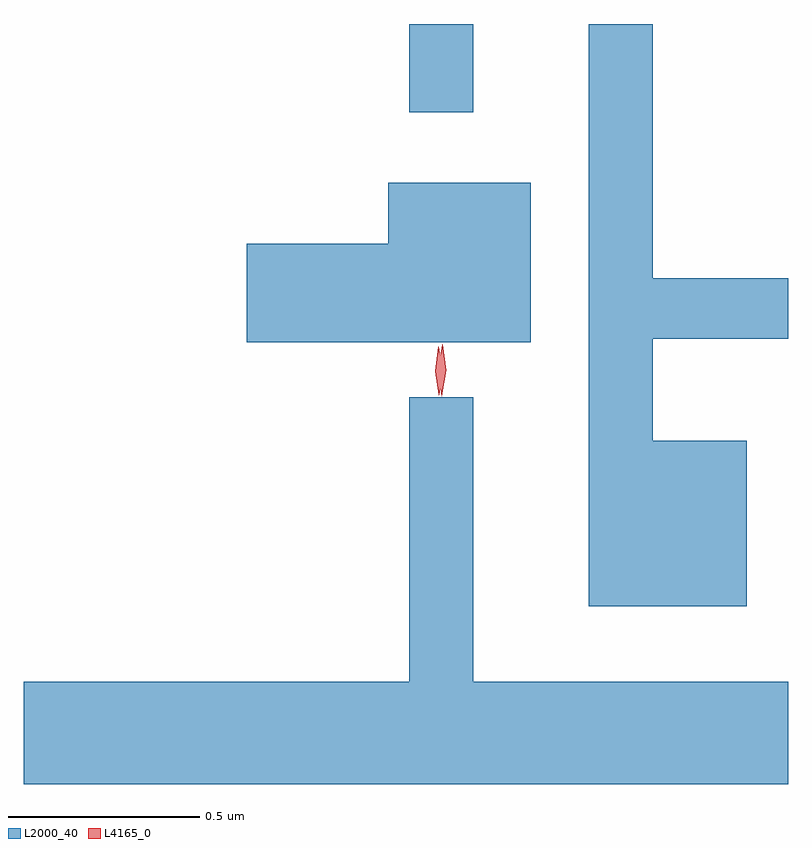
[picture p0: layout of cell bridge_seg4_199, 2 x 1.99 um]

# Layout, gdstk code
import gdstk
lib = gdstk.Library(unit=1e-6, precision=1e-09)
def R(c, l, rs):  # rectangles x0, y0, x1, y1
    for r in rs: c.add(gdstk.rectangle(r[:2], r[2:], *l))
def P(c, l, *ps):  # polygons
    for p in ps: c.add(gdstk.Polygon(p, *l))
L2000_40 = (2000, 40)
L4165_0 = (4165, 0)

bridge_seg4_199 = lib.new_cell('bridge_seg4_199')
R(bridge_seg4_199, L2000_40, [(1103.351,1285.393,1103.519,1285.624)])
P(bridge_seg4_199, L2000_40, [(1104.234,1284.534),(1103.989,1284.534),(1103.989,1284.801),(1104.343,1284.801),(1104.343,1284.959),(1103.989,1284.959),(1103.989,1285.624),(1103.821,1285.624),(1103.821,1284.101),(1104.234,1284.101)],
  [(1103.669,1285.209),(1103.296,1285.209),(1103.296,1285.049),(1102.926,1285.049),(1102.926,1284.791),(1103.669,1284.791)],
  [(1104.343,1283.904),(1103.519,1283.904),(1103.519,1284.648),(1103.351,1284.648),(1103.351,1283.904),(1102.343,1283.904),(1102.343,1283.636),(1104.343,1283.636)])
P(bridge_seg4_199, L4165_0, [(1103.429,1284.653),(1103.429,1284.654),(1103.419,1284.716),(1103.428,1284.78),(1103.429,1284.78),(1103.429,1284.78),(1103.439,1284.716),(1103.43,1284.654)],
  [(1103.436,1284.65),(1103.428,1284.718),(1103.438,1284.785),(1103.438,1284.786),(1103.439,1284.785),(1103.448,1284.718),(1103.437,1284.65),(1103.437,1284.65)])

lib.write_gds('bridge_seg4_199.gds')
